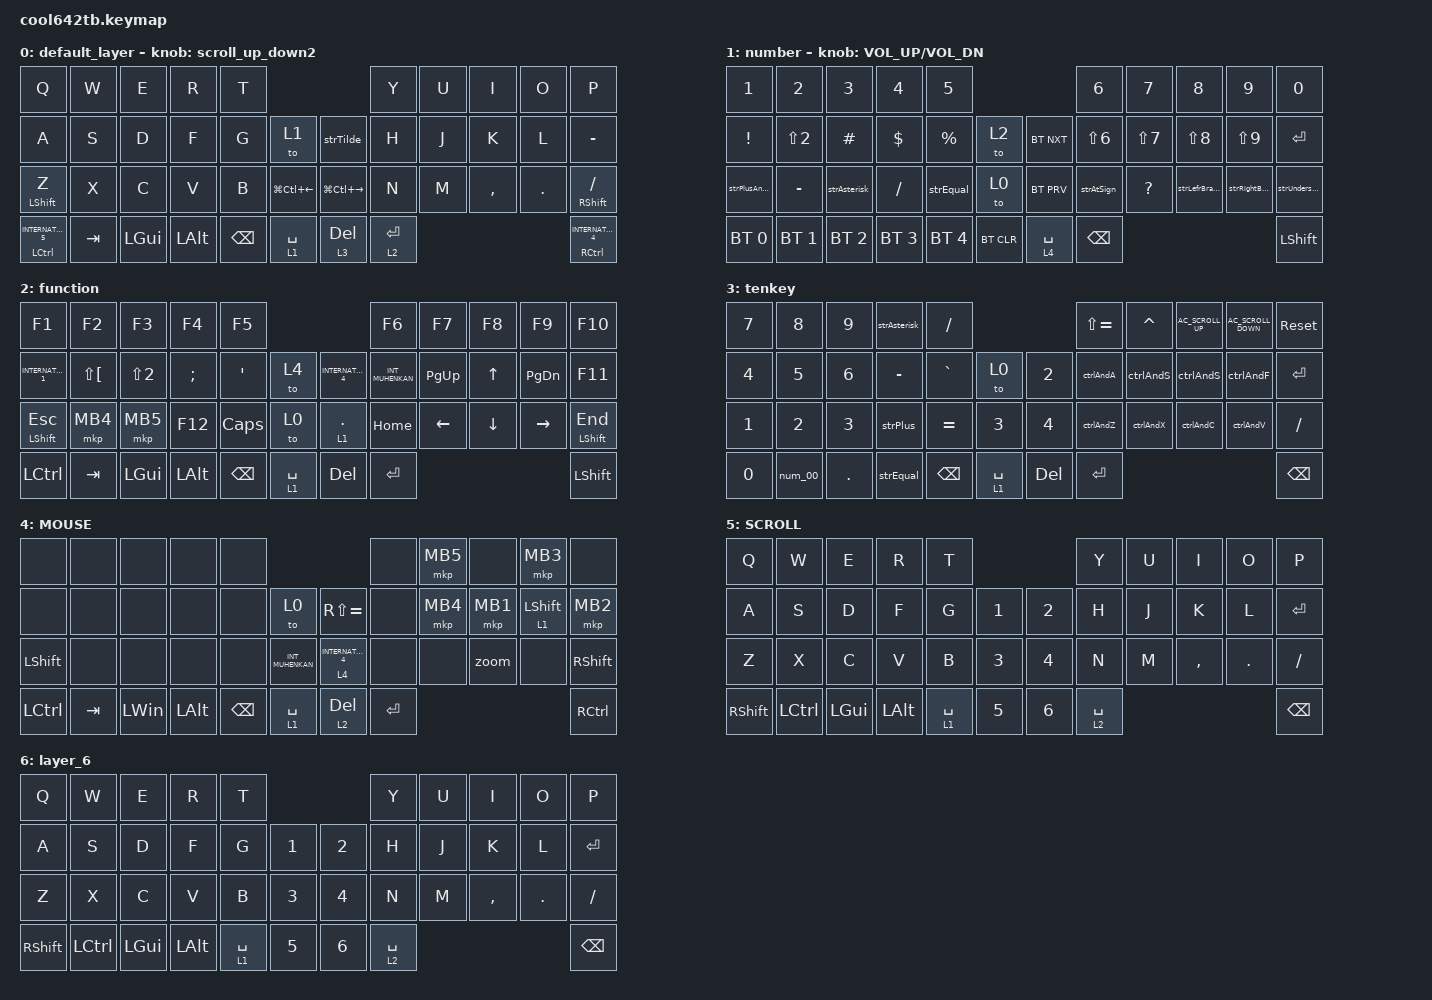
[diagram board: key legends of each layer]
#include <behaviors.dtsi>
#include <dt-bindings/zmk/bt.h>
#include <dt-bindings/zmk/keys.h>
#include <dt-bindings/zmk/pointing.h>

#define MOUSE 4
#define SCROLL 5
#define NUM 6

&mt {
    flavor = "balanced";
    quick-tap-ms = <0>;
};

/ {
    combos {
        compatible = "zmk,combos";

        space {
            bindings = <&kp SPACE>;
            key-positions = <38 39>;
        };

        mute {
            bindings = <&kp C_MUTE>;
            key-positions = <32 33>;
        };

        createVirtualDesktop {
            bindings = <&kp LC(LG(D))>;
            key-positions = <27 28>;
        };
    };

    macros {
        to_layer_0: to_layer_0 {
            compatible = "zmk,behavior-macro-one-param";
            #binding-cells = <1>;
            bindings = <&to 0 &macro_param_1to1 &kp MACRO_PLACEHOLDER>;
            label = "TO_LAYER_0";
        };

        zoom: zoom {
            compatible = "zmk,behavior-macro";
            #binding-cells = <0>;
            bindings = <&kp LCTRL &mo 1>;
            label = "zoom";
        };

        num_00: num_00 {
            compatible = "zmk,behavior-macro";
            #binding-cells = <0>;
            bindings = <&kp NUMBER_0 &kp NUMBER_0>;
            label = "NUM_00";
        };

        strPlus: strPlus {
            compatible = "zmk,behavior-macro";
            #binding-cells = <0>;
            bindings = <&kp LS(SEMI)>;
            label = "STRPLUS";
        };

        strAsterisk: strAsterisk {
            compatible = "zmk,behavior-macro";
            #binding-cells = <0>;
            bindings = <&kp LS(APOS)>;
            label = "STRASTERISK";
        };

        strEqual: strEqual {
            compatible = "zmk,behavior-macro";
            #binding-cells = <0>;
            bindings = <&kp LS(MINUS)>;
            label = "STREQUAL";
        };

        strTilde: strTilde {
            compatible = "zmk,behavior-macro";
            #binding-cells = <0>;
            bindings = <&kp LS(EQUAL)>;
            label = "STRTILDE";
        };

        strLefrBracket: strLefrBracket {
            compatible = "zmk,behavior-macro";
            #binding-cells = <0>;
            bindings = <&kp RIGHT_BRACKET>;
            label = "STRLEFRBRACKET";
        };

        strRightBracket: strRightBracket {
            compatible = "zmk,behavior-macro";
            #binding-cells = <0>;
            bindings = <&kp NON_US_HASH>;
            label = "STRRIGHTBRACKET";
        };

        strUnderscore: strUnderscore {
            compatible = "zmk,behavior-macro";
            #binding-cells = <0>;
            bindings = <&kp LS(INT1)>;
            label = "STRUNDERSCORE";
        };

        strAtSign: strAtSign {
            compatible = "zmk,behavior-macro";
            #binding-cells = <0>;
            bindings = <&kp LEFT_BRACKET>;
            label = "STRATSIGN";
        };

        strPlusAndShift: strPlusAndShift {
            compatible = "zmk,behavior-macro";
            #binding-cells = <0>;
            bindings = <&mt LEFT_SHIFT LS(SEMI)>;
            label = "STRPLUSANDSHIFT";
        };

        virtualDesktopLeft: virtualDesktopLeft {
            compatible = "zmk,behavior-macro";
            #binding-cells = <0>;
            bindings = <&kp LCTRL &kp LEFT_WIN &kp LEFT>;
            label = "VIRTUALDESKTOPLEFT";
        };

        virtualDesktopRight: virtualDesktopRight {
            compatible = "zmk,behavior-macro";
            #binding-cells = <0>;
            bindings = <&kp LCTRL &kp LEFT_WIN &kp RIGHT>;
            label = "VIRTUALDESKTOPRIGHT";
        };

        ctrlAndA: copy {
            compatible = "zmk,behavior-macro";
            #binding-cells = <0>;
            bindings = <&kp LC(A)>;
            label = "COPY";
        };

        ctrlAndS: ctrlAndS {
            compatible = "zmk,behavior-macro";
            #binding-cells = <0>;
            bindings = <&kp LC(S)>;
            label = "CTRLANDS";
        };

        ctrlAndD: ctrlAndD {
            compatible = "zmk,behavior-macro";
            #binding-cells = <0>;
            bindings = <&kp LC(D)>;
            label = "CTRLANDD";
        };

        ctrlAndC: ctrlAndC {
            compatible = "zmk,behavior-macro";
            #binding-cells = <0>;
            bindings = <&kp LC(C)>;
            label = "CTRLANDC";
        };

        ctrlAndV: ctrlAndV {
            compatible = "zmk,behavior-macro";
            #binding-cells = <0>;
            bindings = <&kp LC(V)>;
            label = "CTRLANDV";
        };

        ctrlAndZ: ctrlAndZ {
            compatible = "zmk,behavior-macro";
            #binding-cells = <0>;
            bindings = <&kp LC(Z)>;
            label = "CTRLANDZ";
        };

        ctrlAndX: ctrlAndX {
            compatible = "zmk,behavior-macro";
            #binding-cells = <0>;
            bindings = <&kp LC(X)>;
            label = "CTRLANDX";
        };

        ctrlAndF: ctrlAndF {
            compatible = "zmk,behavior-macro";
            #binding-cells = <0>;
            bindings = <&kp LC(F)>;
            label = "CTRLANDF";
        };
    };

    behaviors {
        lt_to_layer_0: lt_to_layer_0 {
            compatible = "zmk,behavior-hold-tap";
            label = "LAYER_TAP_TO_0";
            bindings = <&mo>, <&to_layer_0>;

            #binding-cells = <2>;
            tapping-term-ms = <200>;
        };

        scroll_up_down: scroll_up_down {
            compatible = "zmk,behavior-sensor-rotate";
            #sensor-binding-cells = <0>;
            bindings = <&msc SCRL_UP>, <&msc SCRL_DOWN>;

            tap-ms = <0>;
        };

        scroll_up_down2: scroll_up_down2 {
            compatible = "zmk,behavior-sensor-rotate";
            #sensor-binding-cells = <0>;
            // 速度70 → 16ms tick 1回で 70*16/1000 = 1.12 → 1クリック確定
            // (SCRL_UP は速度10 = 1クリックに約112ms必要でタップでは発火しない)
            // 1つ目=右回し(CW)=上スクロール, 2つ目=左回し(CCW)=下スクロール
            bindings = <&msc MOVE_Y(-70)>, <&msc MOVE_Y(70)>;

            // tick は 16ms/32ms… → 1tick だけ拾う 24ms
            tap-ms = <24>;
            label = "SCROLL_UP_DOWN2";
        };
    };

    // エンコーダー：キー

    rot_kp: sensor_rotate_kp {
        compatible = "zmk,behavior-sensor-rotate-var";
        #sensor-binding-cells = <2>;
        bindings = <&kp>, <&kp>;
    };

    // エンコーダー：マウススクロール 

    rot_msc: sensor_rotate_msc {
        compatible = "zmk,behavior-sensor-rotate-var";
        #sensor-binding-cells = <2>;
        tap-ms = <20>;
        bindings = <&msc>, <&msc>;
    };

    // エンコーダー：マウススクロール(MOVE_Y)

    scroll_move_y: sensor_rotate_msc_for_move_y {
        compatible = "zmk,behavior-sensor-rotate";
        #sensor-binding-cells = <0>;
        bindings = <&msc MOVE_Y(20)>, <&msc MOVE_Y(-20)>;

        // tap-ms下限メモ Yの値で可変: Y(15) <81>, Y(20) <65>, Y(25) <49>

        tap-ms = <65>;
    };

    // エンコーダー：マウススクロール(MOVE_X)

    scroll_move_x: sensor_rotate_msc_for_move_x {
        compatible = "zmk,behavior-sensor-rotate";
        #sensor-binding-cells = <0>;
        bindings = <&msc MOVE_X(20)>, <&msc MOVE_X(-20)>;

        // tap-ms下限メモ Xの値で可変: X(15) <81>, X(20) <65>, X(25) <49>

        tap-ms = <65>;
    };

    keymap {
        compatible = "zmk,keymap";

        default_layer {
            bindings = <
&kp Q                      &kp W    &kp E         &kp R         &kp T                                                     &kp Y        &kp U  &kp I      &kp O       &kp P
&kp A                      &kp S    &kp D         &kp F         &kp G          &to 1                   &strTilde          &kp H        &kp J  &kp K      &kp L       &kp MINUS
&mt LEFT_SHIFT Z           &kp X    &kp C         &kp V         &kp B          &kp LG(LC(LEFT_ARROW))  &kp LG(LC(RIGHT))  &kp N        &kp M  &kp COMMA  &kp PERIOD  &mt RIGHT_SHIFT SLASH
&mt LCTRL INTERNATIONAL_5  &kp TAB  &kp LEFT_GUI  &kp LEFT_ALT  &kp BACKSPACE  &lt 1 SPACE             &lt 3 DEL          &lt 2 ENTER                                &mt RCTRL INTERNATIONAL_4
            >;

            sensor-bindings = <&scroll_up_down2>;
        };

        number {
            bindings = <
&kp N1            &kp N2            &kp N3        &kp N4        &kp N5                                 &kp N6            &kp N7        &kp N8           &kp N9            &kp N0
&kp EXCLAMATION   &kp LS(NUMBER_2)  &kp HASH      &kp DOLLAR    &kp PERCENT   &to 2       &bt BT_NXT   &kp LS(NUMBER_6)  &kp LS(N7)    &kp LS(N8)       &kp LS(N9)        &kp ENTER
&strPlusAndShift  &kp MINUS         &strAsterisk  &kp SLASH     &strEqual     &to 0       &bt BT_PRV   &strAtSign        &kp QUESTION  &strLefrBracket  &strRightBracket  &strUnderscore
&bt BT_SEL 0      &bt BT_SEL 1      &bt BT_SEL 2  &bt BT_SEL 3  &bt BT_SEL 4  &bt BT_CLR  &lt 4 SPACE  &kp BACKSPACE                                                      &kp LEFT_SHIFT
            >;

            sensor-bindings = <&inc_dec_kp C_VOL_UP C_VOL_DN>;
        };

        function {
            bindings = <
&kp F1                 &kp F2                &kp F3            &kp F4         &kp F5                                              &kp F6            &kp F7          &kp F8        &kp F9         &kp F10
&kp INTERNATIONAL_1    &kp LS(LEFT_BRACKET)  &kp LS(NUMBER_2)  &kp SEMICOLON  &kp SINGLE_QUOTE  &to 4        &kp INTERNATIONAL_4  &kp INT_MUHENKAN  &kp PAGE_UP     &kp UP_ARROW  &kp PAGE_DOWN  &kp F11
&mt LEFT_SHIFT ESCAPE  &mkp MB4              &mkp MB5          &kp F12        &kp CAPS          &to 0        &lt 1 PERIOD         &kp HOME          &kp LEFT_ARROW  &kp DOWN      &kp RIGHT      &mt LEFT_SHIFT END
&kp LCTRL              &kp TAB               &kp LEFT_GUI      &kp LEFT_ALT   &kp BACKSPACE     &lt 1 SPACE  &kp DEL              &kp ENTER                                                      &kp LEFT_SHIFT
            >;
        };

        tenkey {
            bindings = <
&kp N7        &kp N8        &kp N9        &strAsterisk  &kp SLASH                            &kp LS(EQUAL)  &kp CARET  &kp C_AC_SCROLL_UP  &kp C_AC_SCROLL_DOWN  &sys_reset
&kp NUMBER_4  &kp N5        &kp NUMBER_6  &kp MINUS     &kp GRAVE      &to 0        &kp N2   &ctrlAndA      &ctrlAndS  &ctrlAndS           &ctrlAndF             &kp ENTER
&kp NUMBER_1  &kp NUMBER_2  &kp NUMBER_3  &strPlus      &kp EQUAL      &kp N3       &kp N4   &ctrlAndZ      &ctrlAndX  &ctrlAndC           &ctrlAndV             &kp SLASH
&kp NUMBER_0  &num_00       &kp PERIOD    &strEqual     &kp BACKSPACE  &lt 1 SPACE  &kp DEL  &kp ENTER                                                           &kp BSPC
            >;
        };

        MOUSE {
            bindings = <
&none           &none    &none         &none         &none                                                   &none      &mkp MB5  &none     &mkp MB3          &none
&none           &none    &none         &none         &none          &to 0             &kp RS(EQUAL)          &none      &mkp MB4  &mkp MB1  &lt 1 LEFT_SHIFT  &mkp MB2
&kp LEFT_SHIFT  &none    &none         &none         &none          &kp INT_MUHENKAN  &lt 4 INTERNATIONAL_4  &none      &none     &zoom     &none             &kp RIGHT_SHIFT
&kp LCTRL       &kp TAB  &kp LEFT_WIN  &kp LEFT_ALT  &kp BACKSPACE  &lt 1 SPACE       &lt 2 DELETE           &kp ENTER                                        &kp RCTRL
            >;
        };

        SCROLL {
            bindings = <
&kp Q       &kp W      &kp E     &kp R     &kp T                        &kp Y        &kp U  &kp I      &kp O       &kp P
&kp A       &kp S      &kp D     &kp F     &kp G        &kp N1  &kp N2  &kp H        &kp J  &kp K      &kp L       &kp ENTER
&kp Z       &kp X      &kp C     &kp V     &kp B        &kp N3  &kp N4  &kp N        &kp M  &kp COMMA  &kp PERIOD  &kp SLASH
&kp RSHIFT  &kp LCTRL  &kp LGUI  &kp LALT  &lt 1 SPACE  &kp N5  &kp N6  &lt 2 SPACE                                &kp BSPC
            >;
        };

        layer_6 {
            bindings = <
&kp Q       &kp W      &kp E     &kp R     &kp T                        &kp Y        &kp U  &kp I      &kp O       &kp P
&kp A       &kp S      &kp D     &kp F     &kp G        &kp N1  &kp N2  &kp H        &kp J  &kp K      &kp L       &kp ENTER
&kp Z       &kp X      &kp C     &kp V     &kp B        &kp N3  &kp N4  &kp N        &kp M  &kp COMMA  &kp PERIOD  &kp SLASH
&kp RSHIFT  &kp LCTRL  &kp LGUI  &kp LALT  &lt 1 SPACE  &kp N5  &kp N6  &lt 2 SPACE                                &kp BSPC
            >;
        };
    };
};
